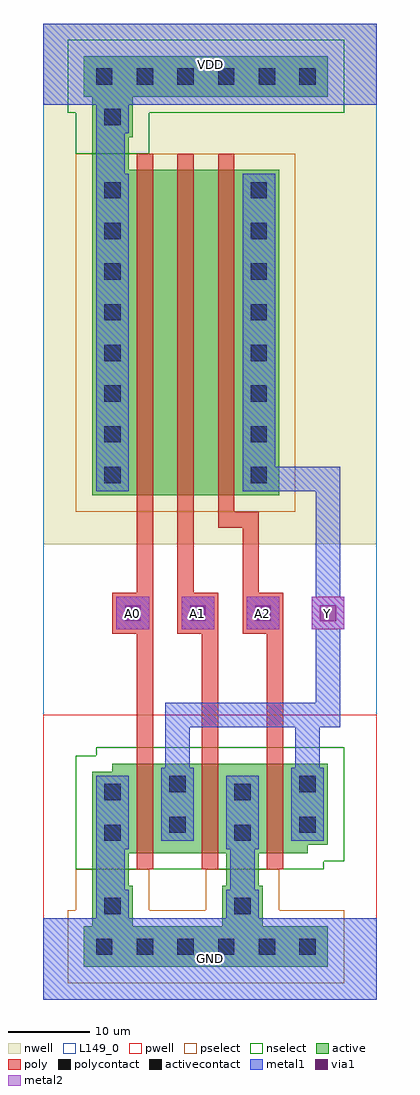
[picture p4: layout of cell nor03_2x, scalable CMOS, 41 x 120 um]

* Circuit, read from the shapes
.subckt nor03_2x A0 A1 A2 GND VDD Y
M1 Y A0 GND GND nfet w=11u l=2u
M2 GND A1 Y GND nfet w=11u l=2u
M3 Y A2 GND GND nfet w=11u l=2u
M4 n1 A0 VDD VDD pfet w=40u l=2u
M5 n2 A1 n1 VDD pfet w=40u l=2u
M6 Y A2 n2 VDD pfet w=40u l=2u
.ends

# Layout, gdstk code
import gdstk
lib = gdstk.Library(unit=1e-6, precision=1e-09)
def R(c, l, rs):  # rectangles x0, y0, x1, y1
    for r in rs: c.add(gdstk.rectangle(r[:2], r[2:], *l))
def A(c, l, x, y, w, h, nx, ny, dx, dy):  # array of equal rectangles
    R(c, l, [(x+i*dx, y+j*dy, x+i*dx+w, y+j*dy+h) for i in range(nx) for j in range(ny)])
def P(c, l, *ps):  # polygons
    for p in ps: c.add(gdstk.Polygon(p, *l))
pwell = (41, 0)
nwell = (42, 0)
active = (43, 0)
pselect = (44, 0)
nselect = (45, 0)
poly = (46, 0)
polycontact = (47, 0)
activecontact = (48, 0)
metal1 = (49, 0)
via1 = (50, 0)
metal2 = (51, 0)
L149_0 = (149, 0)

via = lib.new_cell('via')
R(via, metal1, [(-2,-2,2,2)])
R(via, via1, [(-1,-1,1,1)])
R(via, metal2, [(-2,-2,2,2)])

nor03_2x = lib.new_cell('nor03_2x')
R(nor03_2x, pwell, [(0,0,41,35)])
P(nor03_2x, pwell, [(38.5,12),(38.5,13),(41,13),(41,35),(2.5,35),(2.5,34),(0,34),(0,12)])
R(nor03_2x, nwell, [(0,56,35,108), (0,56,41,120)])
R(nor03_2x, active, [(5,4,35,9), (6,9,11,14), (22,9,27,14), (6,14,10.5,18), (22.5,14,26.5,18), (6,62,11.5,102), (6,62,29,102), (23.5,62,29,102), (6,102,10.5,106), (6,106,11,111), (5,111,35,116)])
P(nor03_2x, active, [(11.5,18),(11.5,29),(8.5,29),(8.5,28),(6,28),(6,18)],
  [(32.5,18),(32.5,19),(35,19),(35,29),(8.5,29),(8.5,28),(6,28),(6,18)],
  [(32.5,18),(32.5,19),(35,19),(35,29),(29.5,29),(29.5,18)])
R(nor03_2x, pselect, [(3,2,37,11), (4,11,13,16), (20,11,29,16), (4,60,31,104)])
R(nor03_2x, nselect, [(4,104,13,109), (3,109,37,118)])
P(nor03_2x, nselect, [(34.5,16),(34.5,17),(37,17),(37,31),(6.5,31),(6.5,30),(4,30),(4,16)])
A(nor03_2x, poly, 11.5, 16, 2, 2, 3, 2, 8, 13)
A(nor03_2x, poly, 11.5, 18, 2, 11, 3, 1, 8, 0)
A(nor03_2x, poly, 8.5, 45, 5, 5, 3, 1, 8, 0)
A(nor03_2x, poly, 11.5, 60, 2, 2, 3, 2, 5, 42)
A(nor03_2x, poly, 11.5, 62, 2, 40, 3, 1, 5, 0)
A(nor03_2x, polycontact, 10, 46.5, 2, 2, 3, 1, 8, 0)
A(nor03_2x, activecontact, 6.5, 5.5, 2, 2, 6, 2, 5, 107)
A(nor03_2x, activecontact, 7.5, 63.5, 2, 2, 1, 8, 0, 5)
A(nor03_2x, activecontact, 25.5, 63.5, 2, 2, 1, 8, 0, 5)
R(nor03_2x, activecontact, [(7.5,10.5,9.5,12.5), (23.5,10.5,25.5,12.5), (7.5,19.5,9.5,21.5), (23.5,19.5,25.5,21.5), (15.5,20.5,17.5,22.5), (31.5,20.5,33.5,22.5), (7.5,24.5,9.5,26.5), (23.5,24.5,25.5,26.5), (15.5,25.5,17.5,27.5), (31.5,25.5,33.5,27.5), (7.5,107.5,9.5,109.5)])
A(nor03_2x, metal1, 9, 45.5, 4, 4, 3, 1, 8, 0)
R(nor03_2x, metal1, [(0,0,41,10), (6.5,10,10.5,13.5), (22.5,10,26.5,13.5), (6.5,13.5,10,18.5), (23,13.5,26,18.5), (6.5,18.5,10.5,27.5), (22.5,18.5,26.5,27.5), (14.5,19.5,18.5,28.5), (30.5,19.5,34.5,28.5), (6.5,62.5,10.5,101.5), (24.5,62.5,28.5,101.5), (6.5,101.5,10,106.5), (6.5,106.5,10.5,110), (0,110,41,120)])
A(nor03_2x, metal2, 9, 45.5, 4, 4, 4, 1, 8, 0)
R(nor03_2x, L149_0, [(0,0,41,120)])
nor03_2x.add(gdstk.FlexPath([(12.5,31),(12.5,60)], 2, ends="flush", simple_path=True, layer=46, datatype=0))  # poly
nor03_2x.add(gdstk.FlexPath([(17.5,60),(17.5,50)], 2, ends="flush", simple_path=True, layer=46, datatype=0))  # poly
nor03_2x.add(gdstk.FlexPath([(20.5,31),(20.5,45)], 2, ends="flush", simple_path=True, layer=46, datatype=0))  # poly
nor03_2x.add(gdstk.FlexPath([(28.5,31),(28.5,45)], 2, ends="flush", simple_path=True, layer=46, datatype=0))  # poly
nor03_2x.add(gdstk.FlexPath([(21.5,59),(25.5,59),(25.5,50)], 2, ends="flush", simple_path=True, layer=46, datatype=0))  # poly
nor03_2x.add(gdstk.FlexPath([(32.5,28.5),(32.5,33.5)], 3, ends="flush", simple_path=True, layer=49, datatype=0))  # metal1
nor03_2x.add(gdstk.FlexPath([(28.5,64),(35,64),(35,49.5)], 3, ends="flush", simple_path=True, layer=49, datatype=0))  # metal1
nor03_2x.add(gdstk.FlexPath([(35,45.5),(35,35),(16.5,35),(16.5,28.5)], 3, ends="flush", simple_path=True, layer=49, datatype=0))  # metal1
nor03_2x.add(gdstk.Reference(via, (19,47.5)))
nor03_2x.add(gdstk.Reference(via, (35,47.5)))
nor03_2x.add(gdstk.Reference(via, (27,47.5)))
nor03_2x.add(gdstk.Reference(via, (11,47.5)))
nor03_2x.add(gdstk.Label('Y', (35,47.5), layer=3, texttype=0))
nor03_2x.add(gdstk.Label('A1', (19,47.5), layer=3, texttype=0))
nor03_2x.add(gdstk.Label('A0', (11,47.5), layer=3, texttype=0))
nor03_2x.add(gdstk.Label('A2', (27,47.5), layer=3, texttype=0))
nor03_2x.add(gdstk.Label('GND', (20.5,5), layer=2, texttype=0))
nor03_2x.add(gdstk.Label('VDD', (20.5,115), layer=2, texttype=0))

lib.write_gds('nor03_2x.gds')
